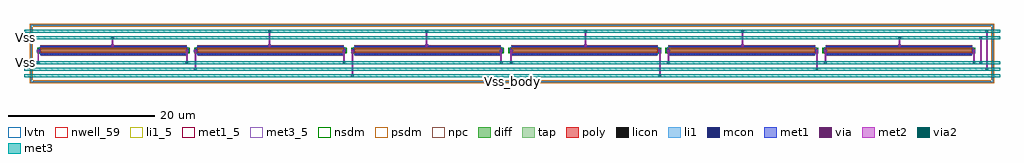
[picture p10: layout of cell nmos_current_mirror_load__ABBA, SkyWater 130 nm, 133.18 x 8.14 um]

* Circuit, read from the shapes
.subckt nmos_current_mirror_load__ABBA Vss Vss_body x2_Vout x2_Vtest
XM1 Vss Vss Vss Vss_body sky130_fd_pr__nfet_01v8_lvt w=0.5 l=20 m=2
XM2 Vss x2_Vtest x2_Vtest Vss_body sky130_fd_pr__nfet_01v8_lvt w=0.5 l=20 m=2
XM3 Vss x2_Vtest x2_Vout Vss_body sky130_fd_pr__nfet_01v8_lvt w=0.5 l=20 m=2
.ends

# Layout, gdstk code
from math import pi, radians
import gdstk
lib = gdstk.Library(unit=1e-6, precision=1e-09)
def R(c, l, rs):  # rectangles x0, y0, x1, y1
    for r in rs: c.add(gdstk.rectangle(r[:2], r[2:], *l))
def A(c, l, x, y, w, h, nx, ny, dx, dy):  # array of equal rectangles
    R(c, l, [(x+i*dx, y+j*dy, x+i*dx+w, y+j*dy+h) for i in range(nx) for j in range(ny)])
nwell_59 = (64, 59)
diff = (65, 20)
tap = (65, 44)
poly = (66, 20)
licon = (66, 44)
li1_5 = (67, 5)
li1 = (67, 20)
mcon = (67, 44)
met1_5 = (68, 5)
met1 = (68, 20)
via = (68, 44)
met2 = (69, 20)
via2 = (69, 44)
met3_5 = (70, 5)
met3 = (70, 20)
nsdm = (93, 44)
psdm = (94, 20)
npc = (95, 20)
lvtn = (125, 44)

sky130_fd_pr__nfet_01v8_ = lib.new_cell('sky130_fd_pr__nfet_01v8_lvt_8GTBD2')
R(sky130_fd_pr__nfet_01v8_, diff, [(-10.29,-0.25,10.29,0.25)])
R(sky130_fd_pr__nfet_01v8_, poly, [(-10,-0.69,10,0.69)])
A(sky130_fd_pr__nfet_01v8_, licon, -9.775, -0.61, 0.17, 0.17, 58, 2, 0.34, 1.05)
R(sky130_fd_pr__nfet_01v8_, licon, [(-10.23,-0.085,-10.06,0.085), (10.06,-0.085,10.23,0.085)])
R(sky130_fd_pr__nfet_01v8_, li1, [(-10,-0.61,10,-0.44), (-10.23,-0.27,-10.06,0.27), (10.06,-0.27,10.23,0.27), (-10,0.44,10,0.61)])
A(sky130_fd_pr__nfet_01v8_, mcon, -9.805, -0.61, 0.17, 0.17, 55, 2, 0.36, 1.05)
R(sky130_fd_pr__nfet_01v8_, mcon, [(-10.23,-0.085,-10.06,0.085), (10.06,-0.085,10.23,0.085)])
R(sky130_fd_pr__nfet_01v8_, met1, [(-9.98,-0.64,9.98,-0.41), (-10.26,-0.25,-10.03,0.25), (10.03,-0.25,10.26,0.25), (-9.98,0.41,9.98,0.64)])
R(sky130_fd_pr__nfet_01v8_, nsdm, [(-10.415,-0.375,10.415,0.375)])
R(sky130_fd_pr__nfet_01v8_, npc, [(-9.875,-0.71,9.875,-0.34), (-9.875,0.34,9.875,0.71)])
R(sky130_fd_pr__nfet_01v8_, lvtn, [(-10.18,-0.43,10.18,0.43)])
sky130_fd_pr__nfet_01v8_.add(gdstk.Label('D', (-10.145,0), layer=67, texttype=5))
sky130_fd_pr__nfet_01v8_.add(gdstk.Label('S', (10.145,0), layer=67, texttype=5))
sky130_fd_pr__nfet_01v8_.add(gdstk.Label('G', (0,0.525), layer=67, texttype=5))

nfet_01v8_lvt_w0p5_l20_m = lib.new_cell('nfet_01v8_lvt_W0p5_L20_m2__nf1_gboth_sdfull_ng')
R(nfet_01v8_lvt_w0p5_l20_m, nwell_59, [(0.05,0.64,0.15,0.74)])
R(nfet_01v8_lvt_w0p5_l20_m, met1_5, [(0.03,0.69,0.26,0.89), (20.32,0.69,20.55,0.89), (0.31,1.1,20.27,1.33)])
R(nfet_01v8_lvt_w0p5_l20_m, met1, [(0.03,0.69,0.26,0.89), (20.32,0.69,20.55,0.89), (0.31,1.1,20.27,1.33)])
nfet_01v8_lvt_w0p5_l20_m.add(gdstk.Reference(sky130_fd_pr__nfet_01v8_, (10.29,0.69)))
nfet_01v8_lvt_w0p5_l20_m.add(gdstk.Label('D', (0.145,0.79), layer=68, texttype=5))
nfet_01v8_lvt_w0p5_l20_m.add(gdstk.Label('S', (20.435,0.79), layer=68, texttype=5))
nfet_01v8_lvt_w0p5_l20_m.add(gdstk.Label('G', (10.29,1.215), layer=68, texttype=5))
nfet_01v8_lvt_w0p5_l20_m.add(gdstk.Label('B', (0.1,0.69), layer=64, texttype=59))

nmos_current_mirror_load = lib.new_cell('nmos_current_mirror_load__ABBA')
R(nmos_current_mirror_load, tap, [(-0.885,-3.685,130.465,-3.515), (-0.885,-3.515,-0.715,4.035), (130.295,-3.515,130.465,4.035), (-0.885,4.035,130.465,4.205)])
A(nmos_current_mirror_load, licon, -0.575, -3.685, 0.17, 0.17, 385, 2, 0.34, 7.72)
A(nmos_current_mirror_load, licon, -0.885, -3.225, 0.17, 0.17, 1, 21, 0, 0.34)
A(nmos_current_mirror_load, licon, 130.295, -3.225, 0.17, 0.17, 1, 21, 0, 0.34)
R(nmos_current_mirror_load, li1_5, [(64.74,-3.65,64.84,-3.55)])
R(nmos_current_mirror_load, li1, [(-0.885,-3.685,130.465,-3.515), (-0.885,-3.515,-0.715,4.035), (130.295,-3.515,130.465,4.035), (-0.885,4.035,130.465,4.205)])
A(nmos_current_mirror_load, met1, 10.11, 1.13, 0.36, 0.36, 3, 1, 21.43, 0)
A(nmos_current_mirror_load, met1, 74.65, 1.13, 0.36, 0.36, 3, 1, 21.43, 0)
R(nmos_current_mirror_load, met1, [(-0.035,0.44,0.325,0.8), (20.255,0.44,20.615,0.8), (21.395,0.44,21.755,0.8), (41.685,0.44,42.045,0.8), (42.825,0.44,43.185,0.8), (63.115,0.44,63.475,0.8), (64.505,0.44,64.865,0.8), (84.795,0.44,85.155,0.8), (85.935,0.44,86.295,0.8), (106.225,0.44,106.585,0.8), (107.365,0.44,107.725,0.8), (127.655,0.44,128.015,0.8)])
A(nmos_current_mirror_load, via, 10.215, 1.235, 0.15, 0.15, 3, 1, 21.43, 0)
A(nmos_current_mirror_load, via, 74.755, 1.235, 0.15, 0.15, 3, 1, 21.43, 0)
R(nmos_current_mirror_load, via, [(0.07,0.545,0.22,0.695), (20.36,0.545,20.51,0.695), (21.5,0.545,21.65,0.695), (41.79,0.545,41.94,0.695), (42.93,0.545,43.08,0.695), (63.22,0.545,63.37,0.695), (64.61,0.545,64.76,0.695), (84.9,0.545,85.05,0.695), (86.04,0.545,86.19,0.695), (106.33,0.545,106.48,0.695), (107.47,0.545,107.62,0.695), (127.76,0.545,127.91,0.695)])
A(nmos_current_mirror_load, met2, 20.235, -1.2, 0.4, 0.4, 3, 1, 21.43, 0)
A(nmos_current_mirror_load, met2, 64.485, -1.2, 0.4, 0.4, 3, 1, 21.43, 0)
A(nmos_current_mirror_load, met2, 20.335, -0.8, 0.2, 1.26, 3, 1, 21.43, 0)
A(nmos_current_mirror_load, met2, 64.585, -0.8, 0.2, 1.26, 3, 1, 21.43, 0)
A(nmos_current_mirror_load, met2, 10.16, 1.15, 0.26, 0.32, 3, 1, 21.43, 0)
A(nmos_current_mirror_load, met2, 74.7, 1.15, 0.26, 0.32, 3, 1, 21.43, 0)
R(nmos_current_mirror_load, met2, [(42.805,-3,43.205,-2.6), (84.775,-3,85.175,-2.6), (42.905,-2.6,43.105,0.46), (84.875,-2.6,85.075,0.46), (21.375,-2.1,21.775,-1.7), (106.205,-2.1,106.605,-1.7), (129.38,-2.1,129.78,-1.7), (21.475,-1.7,21.675,0.46), (106.305,-1.7,106.505,0.46), (129.48,-1.7,129.68,3.12), (-0.055,-1.2,0.345,-0.8), (127.635,-1.2,128.035,-0.8), (128.58,-1.2,128.98,-0.8), (0.045,-0.8,0.245,0.46), (127.735,-0.8,127.935,0.46), (128.68,-0.8,128.88,2.22), (0.015,0.46,0.275,0.78), (20.305,0.46,20.565,0.78), (21.445,0.46,21.705,0.78), (41.735,0.46,41.995,0.78), (42.875,0.46,43.135,0.78), (63.165,0.46,63.425,0.78), (64.555,0.46,64.815,0.78), (84.845,0.46,85.105,0.78), (85.985,0.46,86.245,0.78), (106.275,0.46,106.535,0.78), (107.415,0.46,107.675,0.78), (127.705,0.46,127.965,0.78), (10.19,1.47,10.39,2.22), (31.62,1.47,31.82,3.12), (53.05,1.47,53.25,3.12), (74.73,1.47,74.93,3.12), (96.16,1.47,96.36,3.12), (117.59,1.47,117.79,2.22), (10.09,2.22,10.49,2.62), (117.49,2.22,117.89,2.62), (128.58,2.22,128.98,2.62), (31.52,3.12,31.92,3.52), (52.95,3.12,53.35,3.52), (74.63,3.12,75.03,3.52), (96.06,3.12,96.46,3.52), (129.38,3.12,129.78,3.52)])
A(nmos_current_mirror_load, via2, 20.335, -1.1, 0.2, 0.2, 3, 1, 21.43, 0)
A(nmos_current_mirror_load, via2, 64.585, -1.1, 0.2, 0.2, 3, 1, 21.43, 0)
R(nmos_current_mirror_load, via2, [(42.905,-2.9,43.105,-2.7), (84.875,-2.9,85.075,-2.7), (21.475,-2,21.675,-1.8), (106.305,-2,106.505,-1.8), (129.48,-2,129.68,-1.8), (0.045,-1.1,0.245,-0.9), (127.735,-1.1,127.935,-0.9), (128.68,-1.1,128.88,-0.9), (10.19,2.32,10.39,2.52), (117.59,2.32,117.79,2.52), (128.68,2.32,128.88,2.52), (31.62,3.22,31.82,3.42), (53.05,3.22,53.25,3.42), (74.73,3.22,74.93,3.42), (96.16,3.22,96.36,3.42), (129.48,3.22,129.68,3.42)])
A(nmos_current_mirror_load, met3_5, -1.7, -2.85, 0.1, 0.1, 1, 3, 0, 0.9)
R(nmos_current_mirror_load, met3_5, [(-1.7,2.37,-1.6,2.47), (-1.7,3.27,-1.6,3.37)])
A(nmos_current_mirror_load, met3, -1.8, -3, 133.18, 0.4, 1, 3, 0, 0.9)
R(nmos_current_mirror_load, met3, [(-1.8,2.22,131.38,2.62), (-1.8,3.12,131.38,3.52)])
R(nmos_current_mirror_load, psdm, [(-1.01,-3.81,130.59,-3.39), (-1.01,-3.39,-0.59,3.91), (130.17,-3.39,130.59,3.91), (-1.01,3.91,130.59,4.33)])
nmos_current_mirror_load.add(gdstk.Reference(nfet_01v8_lvt_w0p5_l20_m, (0.13,0)))
nmos_current_mirror_load.add(gdstk.Reference(nfet_01v8_lvt_w0p5_l20_m, (21.56,0)))
nmos_current_mirror_load.add(gdstk.Reference(nfet_01v8_lvt_w0p5_l20_m, (42.99,0)))
nmos_current_mirror_load.add(gdstk.Reference(nfet_01v8_lvt_w0p5_l20_m, (85,0), rotation=pi, x_reflection=True))
nmos_current_mirror_load.add(gdstk.Reference(nfet_01v8_lvt_w0p5_l20_m, (106.43,0), rotation=pi, x_reflection=True))
nmos_current_mirror_load.add(gdstk.Reference(nfet_01v8_lvt_w0p5_l20_m, (127.86,0), rotation=pi, x_reflection=True))
nmos_current_mirror_load.add(gdstk.Label('Vss', (-1.65,2.42), layer=70, texttype=5))
nmos_current_mirror_load.add(gdstk.Label('x2_Vtest', (-1.65,3.32), layer=70, texttype=5))
nmos_current_mirror_load.add(gdstk.Label('Vss', (-1.65,-1), layer=70, texttype=5))
nmos_current_mirror_load.add(gdstk.Label('x2_Vtest', (-1.65,-1.9), layer=70, texttype=5))
nmos_current_mirror_load.add(gdstk.Label('x2_Vout', (-1.65,-2.8), layer=70, texttype=5))
nmos_current_mirror_load.add(gdstk.Label('Vss_body', (64.79,-3.6), layer=67, texttype=5))

lib.write_gds('nmos_current_mirror_load__ABBA.gds')
